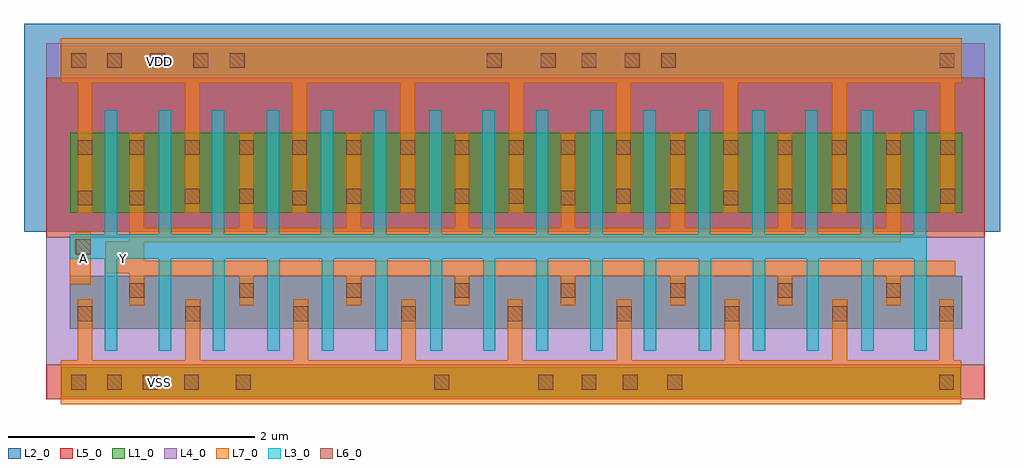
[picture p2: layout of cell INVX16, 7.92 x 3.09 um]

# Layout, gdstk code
import gdstk
lib = gdstk.Library(unit=1e-6, precision=1e-09)
def R(c, l, rs):  # rectangles x0, y0, x1, y1
    for r in rs: c.add(gdstk.rectangle(r[:2], r[2:], *l))
def A(c, l, x, y, w, h, nx, ny, dx, dy):  # array of equal rectangles
    R(c, l, [(x+i*dx, y+j*dy, x+i*dx+w, y+j*dy+h) for i in range(nx) for j in range(ny)])
L1_0 = (1, 0)
L2_0 = (2, 0)
L3_0 = (3, 0)
L4_0 = (4, 0)
L5_0 = (5, 0)
L6_0 = (6, 0)
L7_0 = (7, 0)

invx16 = lib.new_cell('INVX16')
R(invx16, L1_0, [(-0.075,1.27,7.23,1.51), (-0.005,1.825,7.24,2.255), (0,2.765,7.24,3.415), (-0.075,3.88,7.235,4.12)])
R(invx16, L2_0, [(-0.375,2.61,7.545,4.3)])
A(invx16, L3_0, 2.92, 1.645, 0.1, 0.745, 3, 1, 0.43, 0)
R(invx16, L3_0, [(0.28,1.645,0.38,2.39), (0.72,1.645,0.82,2.39), (1.155,1.645,1.255,2.39), (1.6,1.645,1.7,2.39), (2.04,1.645,2.14,2.39), (2.475,1.645,2.575,2.39), (4.22,1.645,4.32,2.39), (4.655,1.645,4.755,2.39), (5.1,1.645,5.2,2.39), (5.54,1.645,5.64,2.39), (5.975,1.645,6.075,2.39), (6.42,1.645,6.52,2.39), (6.85,1.645,6.95,2.39), (-0.005,2.39,6.95,2.59), (0.28,2.59,0.38,3.595), (0.72,2.59,0.82,3.595), (1.15,2.59,1.25,3.595), (1.595,2.59,1.695,3.595), (2.035,2.59,2.135,3.595), (2.465,2.59,2.565,3.595), (2.915,2.59,3.015,3.595), (3.345,2.59,3.445,3.595), (3.78,2.59,3.88,3.595), (4.22,2.59,4.32,3.595), (4.65,2.59,4.75,3.595), (5.095,2.59,5.195,3.595), (5.535,2.59,5.635,3.595), (5.965,2.59,6.065,3.595), (6.415,2.59,6.515,3.595), (6.845,2.59,6.945,3.595)])
R(invx16, L4_0, [(-0.195,1.53,7.42,2.565), (-0.195,3.86,7.42,4.14)])
R(invx16, L5_0, [(-0.195,1.25,7.42,1.53), (-0.195,2.565,7.42,3.86)])
A(invx16, L6_0, 0.01, 1.33, 0.12, 0.12, 3, 1, 0.29, 0)
A(invx16, L6_0, 0.06, 1.885, 0.12, 0.12, 4, 1, 0.875, 0)
A(invx16, L6_0, 4.435, 1.885, 0.12, 0.12, 3, 1, 0.875, 0)
A(invx16, L6_0, 2.24, 2.84, 0.12, 0.12, 4, 1, 0.44, 0)
A(invx16, L6_0, 5.74, 2.84, 0.12, 0.12, 4, 1, 0.44, 0)
A(invx16, L6_0, 1.8, 3.235, 0.12, 0.12, 5, 1, 0.44, 0)
A(invx16, L6_0, 5.3, 3.235, 0.12, 0.12, 5, 1, 0.44, 0)
A(invx16, L6_0, 0.3, 3.94, 0.12, 0.12, 3, 1, 0.35, 0)
R(invx16, L6_0, [(0.925,1.33,1.045,1.45), (1.345,1.33,1.465,1.45), (2.955,1.33,3.075,1.45), (3.8,1.33,3.92,1.45), (4.15,1.33,4.27,1.45), (4.485,1.33,4.605,1.45), (4.845,1.33,4.965,1.45), (7.05,1.33,7.17,1.45), (3.55,1.885,3.67,2.005), (7.05,1.885,7.17,2.005), (0.48,2.075,0.6,2.195), (1.37,2.075,1.49,2.195), (2.24,2.075,2.36,2.195), (3.12,2.075,3.24,2.195), (3.98,2.075,4.1,2.195), (4.87,2.075,4.99,2.195), (5.74,2.075,5.86,2.195), (6.62,2.075,6.74,2.195), (0.045,2.43,0.165,2.55), (0.06,2.825,0.18,2.945), (0.48,2.825,0.6,2.945), (1.8,2.825,1.92,2.945), (3.98,2.825,4.1,2.945), (5.3,2.825,5.42,2.945), (0.93,2.84,1.05,2.96), (1.37,2.84,1.49,2.96), (4.43,2.84,4.55,2.96), (4.87,2.84,4.99,2.96), (0.06,3.235,0.18,3.355), (0.48,3.235,0.6,3.355), (0.93,3.235,1.05,3.355), (1.37,3.235,1.49,3.355), (3.56,3.235,3.68,3.355), (3.98,3.235,4.1,3.355), (4.43,3.235,4.55,3.355), (4.87,3.235,4.99,3.355), (0.01,3.94,0.13,4.06), (1.295,3.94,1.415,4.06), (3.38,3.94,3.5,4.06), (3.82,3.94,3.94,4.06), (4.15,3.94,4.27,4.06), (4.5,3.94,4.62,4.06), (4.795,3.94,4.915,4.06), (7.055,3.94,7.175,4.06)])
A(invx16, L7_0, 0.06, 1.57, 0.12, 0.495, 4, 1, 0.875, 0)
A(invx16, L7_0, 4.435, 1.57, 0.12, 0.495, 3, 1, 0.875, 0)
A(invx16, L7_0, 0.06, 2.765, 0.12, 1.055, 3, 1, 0.87, 0)
A(invx16, L7_0, 3.56, 2.765, 0.12, 1.055, 3, 1, 0.87, 0)
R(invx16, L7_0, [(-0.075,1.21,7.23,1.57), (3.55,1.57,3.67,2.065), (7.05,1.57,7.17,2.065), (0.48,2.015,0.6,2.275), (1.37,2.015,1.49,2.275), (2.24,2.015,2.36,2.275), (3.12,2.015,3.24,2.275), (3.98,2.015,4.1,2.275), (4.87,2.015,4.99,2.275), (5.74,2.015,5.86,2.275), (6.62,2.015,6.74,2.275), (-0.005,2.185,0.165,2.59), (0.285,2.275,0.6,2.535), (0.48,2.535,0.6,3.415), (1.37,2.535,1.49,3.415), (2.24,2.535,2.36,3.415), (3.12,2.535,3.24,3.415), (3.98,2.535,4.1,3.415), (4.87,2.535,4.99,3.415), (5.74,2.535,5.86,3.415), (6.62,2.535,6.74,3.415), (0.045,2.59,0.165,2.61), (2.68,2.765,2.8,3.82), (3.56,2.765,3.68,3.82), (6.18,2.765,6.3,3.82), (7.06,2.765,7.18,3.82), (-0.075,3.82,7.235,4.18)])
invx16.add(gdstk.FlexPath([(0.485,2.315),(7.18,2.315)], 0.12, ends="flush", simple_path=True, layer=7, datatype=0))  # L7_0
invx16.add(gdstk.FlexPath([(0.595,2.585),(6.74,2.585)], 0.12, ends="flush", simple_path=True, layer=7, datatype=0))  # L7_0
invx16.add(gdstk.Label('Y', (0.43,2.395), layer=7, texttype=251))
invx16.add(gdstk.Label('A', (0.11,2.395), layer=7, texttype=251))
invx16.add(gdstk.Label('VSS', (0.725,1.385), layer=7, texttype=251))
invx16.add(gdstk.Label('VDD', (0.725,3.99), layer=7, texttype=251))

lib.write_gds('INVX16.gds')
